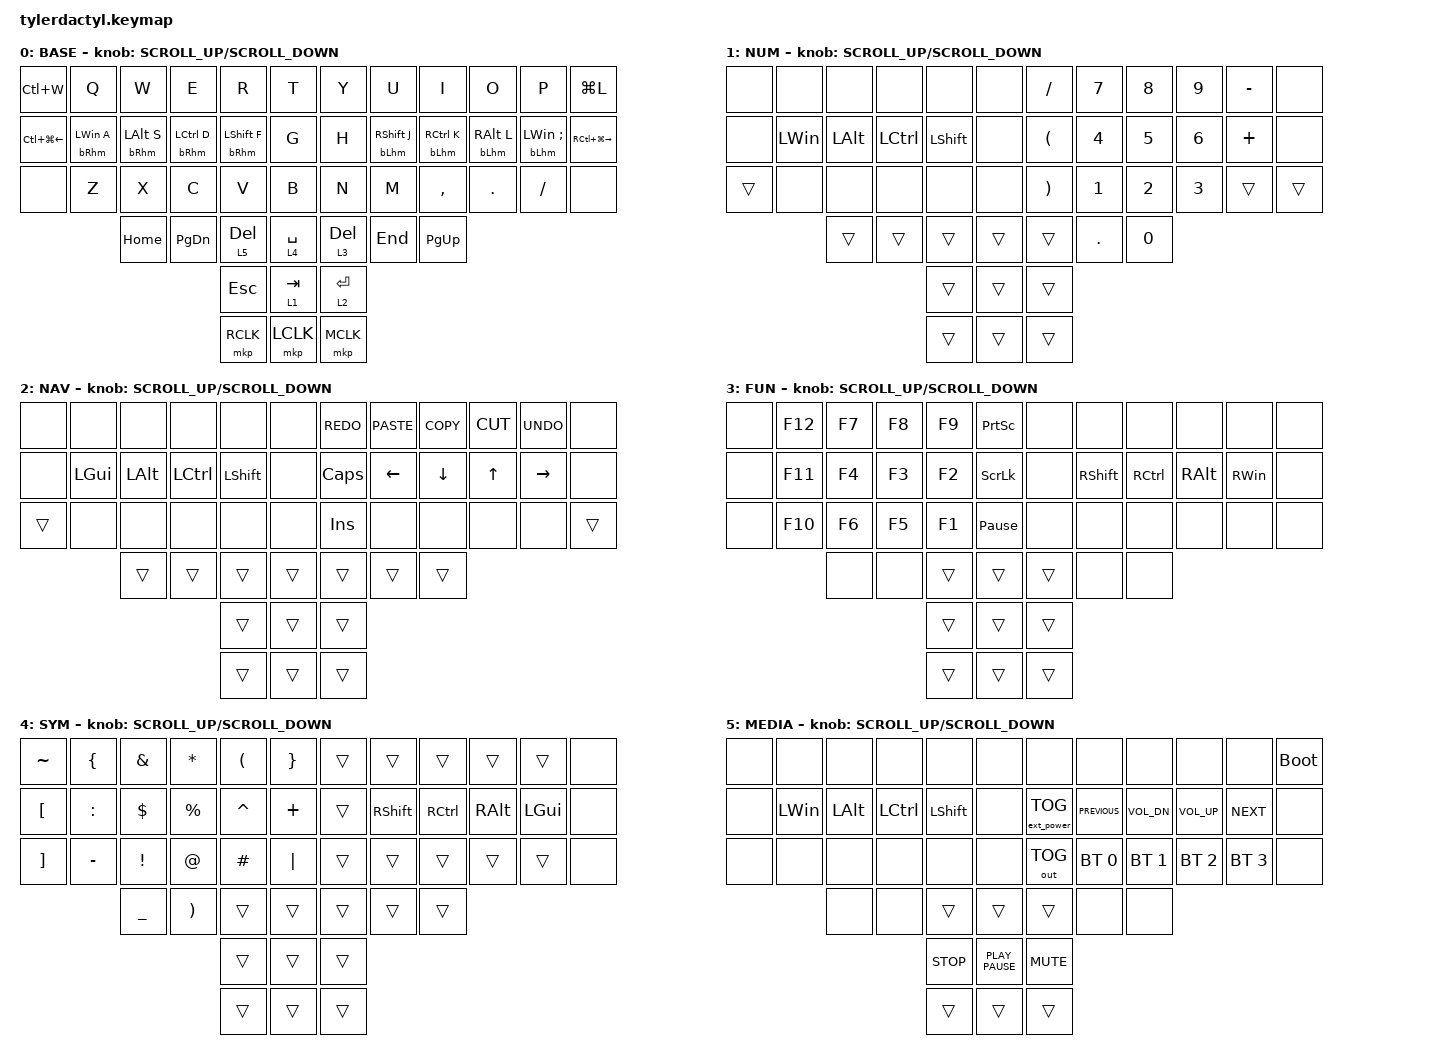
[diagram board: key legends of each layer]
#include <settings.dtsi>
#include <behaviors.dtsi>


/{
    keymap {
        compatible = "zmk,keymap";

        BASE {
            bindings = <
&kp LC(W)         &kp Q         &kp W             &kp E          &kp R          &kp T        &kp Y        &kp U          &kp I          &kp O              &kp P                 &kp LG(L)
&kp LC(LG(LEFT))  &bRhm LWIN A  &bRhm LEFT_ALT S  &bRhm LCTRL D  &bRhm LSHFT F  &kp G        &kp H        &bLhm RSHFT J  &bLhm RCTRL K  &bLhm RIGHT_ALT L  &bLhm LWIN SEMICOLON  &kp RC(LG(RIGHT_ARROW))
&none             &kp Z         &kp X             &kp C          &kp V          &kp B        &kp N        &kp M          &kp COMMA      &kp PERIOD         &kp SLASH             &none
                                &kp HOME          &kp PAGE_DOWN  &lt 5 DEL      &lt 4 SPACE  &lt 3 DEL    &kp END        &kp PAGE_UP
                                                                 &kp ESCAPE     &lt 1 TAB    &lt 2 ENTER
                                                                 &mkp RCLK      &mkp LCLK    &mkp MCLK
            >;

            sensor-bindings = <&inc_dec_kp K_SCROLL_UP K_SCROLL_DOWN>;
            display-name = "BASE";
        };

        NUM {
            bindings = <
&none   &none         &none         &none      &none      &none   &kp SLASH              &kp N7        &kp N8        &kp N9        &kp MINUS  &none
&none   &kp LEFT_WIN  &kp LEFT_ALT  &kp LCTRL  &kp LSHFT  &none   &kp LEFT_PARENTHESIS   &kp NUMBER_4  &kp N5        &kp NUMBER_6  &kp PLUS   &none
&trans  &none         &none         &none      &none      &none   &kp RIGHT_PARENTHESIS  &kp NUMBER_1  &kp NUMBER_2  &kp NUMBER_3  &trans     &trans
                      &trans        &trans     &trans     &trans  &trans                 &kp DOT       &kp N0
                                               &trans     &trans  &trans
                                               &trans     &trans  &trans
            >;

            sensor-bindings = <&inc_dec_kp K_SCROLL_UP K_SCROLL_DOWN>;
            display-name = "NUM";
        };

        NAV {
            bindings = <
&none   &none     &none     &none      &none      &none   &kp K_REDO  &kp K_PASTE  &kp K_COPY  &kp K_CUT  &kp K_UNDO  &none
&none   &kp LGUI  &kp LALT  &kp LCTRL  &kp LSHFT  &none   &kp CAPS    &kp LEFT     &kp DOWN    &kp UP     &kp RIGHT   &none
&trans  &none     &none     &none      &none      &none   &kp INSERT  &none        &none       &none      &none       &trans
                  &trans    &trans     &trans     &trans  &trans      &trans       &trans
                                       &trans     &trans  &trans
                                       &trans     &trans  &trans
            >;

            sensor-bindings = <&inc_dec_kp K_SCROLL_UP K_SCROLL_DOWN>;
            display-name = "NAV";
        };

        FUN {
            bindings = <
&none  &kp F12  &kp F7  &kp F8  &kp F9  &kp PRINTSCREEN  &none   &none      &none      &none          &none     &none
&none  &kp F11  &kp F4  &kp F3  &kp F2  &kp SCROLLLOCK   &none   &kp RSHFT  &kp RCTRL  &kp RIGHT_ALT  &kp RWIN  &none
&none  &kp F10  &kp F6  &kp F5  &kp F1  &kp PAUSE_BREAK  &none   &none      &none      &none          &none     &none
                &none   &none   &trans  &trans           &trans  &none      &none
                                &trans  &trans           &trans
                                &trans  &trans           &trans
            >;

            sensor-bindings = <&inc_dec_kp K_SCROLL_UP K_SCROLL_DOWN>;
            display-name = "FUN";
        };

        SYM {
            bindings = <
&kp TILDE          &kp LBRC   &kp AMPS    &kp STAR     &kp LPAR   &kp RBRC  &trans  &trans     &trans     &trans    &trans    &none
&kp LEFT_BRACKET   &kp COLON  &kp DOLLAR  &kp PERCENT  &kp CARET  &kp PLUS  &trans  &kp RSHFT  &kp RCTRL  &kp RALT  &kp LGUI  &none
&kp RIGHT_BRACKET  &kp MINUS  &kp EXCL    &kp AT       &kp HASH   &kp PIPE  &trans  &trans     &trans     &trans    &trans    &none
                              &kp UNDER   &kp RPAR     &trans     &trans    &trans  &trans     &trans
                                                       &trans     &trans    &trans
                                                       &trans     &trans    &trans
            >;

            sensor-bindings = <&inc_dec_kp K_SCROLL_UP K_SCROLL_DOWN>;
            label = "SYM";
        };

        MEDIA {
            bindings = <
&none  &none     &none         &none      &none       &none             &none              &none           &none         &none            &none         &bootloader
&none  &kp LWIN  &kp LEFT_ALT  &kp LCTRL  &kp LSHFT   &none             &ext_power EP_TOG  &kp K_PREVIOUS  &kp C_VOL_DN  &kp C_VOLUME_UP  &kp K_NEXT    &none
&none  &none     &none         &none      &none       &none             &out OUT_TOG       &bt BT_SEL 0    &bt BT_SEL 1  &bt BT_SEL 2     &bt BT_SEL 3  &none
                 &none         &none      &trans      &trans            &trans             &none           &none
                                          &kp K_STOP  &kp K_PLAY_PAUSE  &kp K_MUTE
                                          &trans      &trans            &trans
            >;

            sensor-bindings = <&inc_dec_kp K_SCROLL_UP K_SCROLL_DOWN>;
            label = "MEDIA";
        };
    };
};

